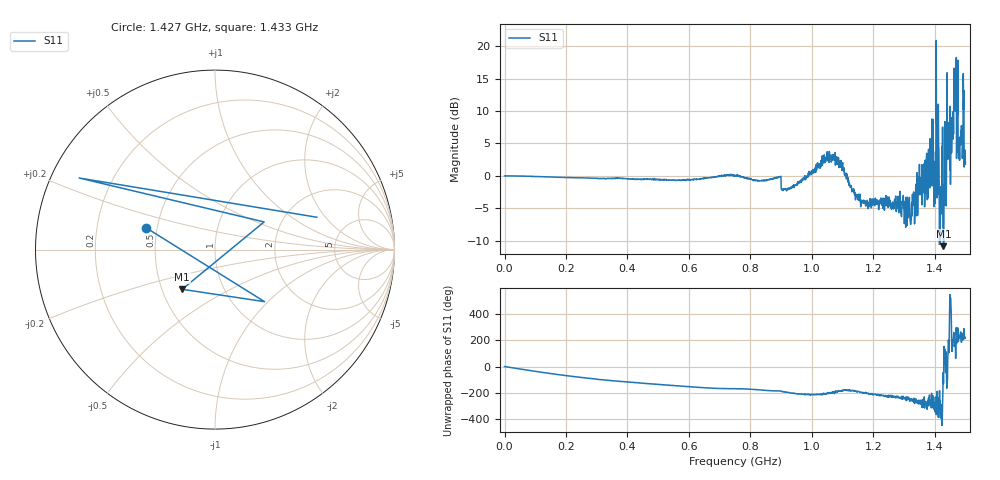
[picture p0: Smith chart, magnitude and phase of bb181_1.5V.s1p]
# Hz S RI R 50
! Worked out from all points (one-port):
!   1515 points, 50 kHz to 1.5 GHz, reference 50 ohm
!   lowest |S11| = -10.8 dB at 1.429 GHz (marker M1), VSWR 1.81, Z = 31.7 - j15.3 ohm
!   |S11| at or under -10 dB: 1.41571 GHz to 1.415896 GHz (186.3 kHz wide, 0.0132 % of centre); 1.417678 GHz to 1.417851 GHz (172.5 kHz wide, 0.0122 % of centre); 1.42838 GHz to 1.429665 GHz (1.285 MHz wide, 0.0899 % of centre)
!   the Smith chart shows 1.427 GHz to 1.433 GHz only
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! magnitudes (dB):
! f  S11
! 50 kHz  0.0
! 188.3 MHz  -0.2
! 375.5 MHz  -0.4
! 562.8 MHz  -0.7
! 750 MHz  0.0
! 938.3 MHz  -1.7
! 1.055 GHz  3.4
! 1.098 GHz  0.8
! 1.126 GHz  -1.7
! 1.165 GHz  -4.1
! 1.313 GHz  -6.5
! 1.328 GHz  -2.8
! 1.355 GHz  -0.3
! 1.372 GHz  -0.2
! 1.388 GHz  2.2
! 1.397 GHz  -0.3
! 1.407 GHz  10.1
! 1.423 GHz  -5.3
! 1.429 GHz  -10.8
! 1.433 GHz  8.0
! 1.44 GHz  3.6
! 1.452 GHz  6.2
! 1.463 GHz  16.6
! 1.468 GHz  10.4
! 1.478 GHz  5.7
! 1.485 GHz  6.9
! 1.489 GHz  7.7
! 1.5 GHz  1.8
